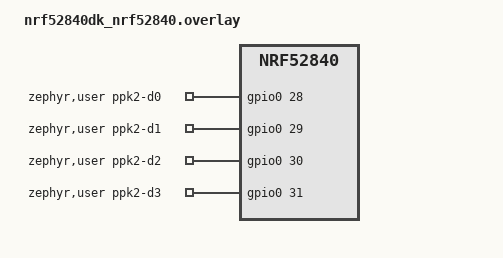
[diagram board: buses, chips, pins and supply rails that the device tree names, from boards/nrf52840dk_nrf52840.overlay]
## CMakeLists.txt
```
cmake_minimum_required(VERSION 3.20.0)
find_package(Zephyr REQUIRED HINTS $ENV{ZEPHYR_BASE})
project(wrap_profiling LANGUAGES C)

target_sources(app PRIVATE src/main.c src/cycle.c src/phases.c src/trace.c)

# The functions to mark: the same list as the PPK2_TRACE_WRAP lines of
# src/trace.c.
ppk2_trace_wrap(run_cycle wakeup measure transmit)
```

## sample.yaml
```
sample:
  name: PPK2 wrap profiling
  description: The profiling cycle, marked at link time without touching its source
tests:
  sample.ppk2.wrap_profiling:
    platform_allow:
      - nrf52840dk/nrf52840
      - nrf54lm20dk/nrf54lm20b/cpuapp
    tags: ppk2 power
    build_only: true
```

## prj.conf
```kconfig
# Quiet config: nothing but the workload shapes the current trace.
CONFIG_GPIO=y
CONFIG_PPK2_TRACE=y

CONFIG_LOG=n
CONFIG_PRINTK=n
CONFIG_BOOT_BANNER=n
CONFIG_CONSOLE=n
CONFIG_SERIAL=n
CONFIG_UART_CONSOLE=n
```

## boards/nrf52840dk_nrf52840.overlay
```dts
/*
 * nRF52840 DK (PCA10056) phase-profiling pins — the adjacent A2..A5 run
 * on the Arduino R3 analog header: cycle D0 = P0.28 (A2), wakeup
 * D1 = P0.29 (A3), measure D2 = P0.30 (A4), transmit D3 = P0.31 (A5).
 * P0.28/P0.29 are bench-proven by ppk2-lib's trace-demo.
 */
/ {
	zephyr,user {
		ppk2-d0-gpios = <&gpio0 28 GPIO_ACTIVE_HIGH>;
		ppk2-d1-gpios = <&gpio0 29 GPIO_ACTIVE_HIGH>;
		ppk2-d2-gpios = <&gpio0 30 GPIO_ACTIVE_HIGH>;
		ppk2-d3-gpios = <&gpio0 31 GPIO_ACTIVE_HIGH>;
	};
};
```

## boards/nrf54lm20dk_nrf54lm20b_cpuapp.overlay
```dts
/* SPDX-License-Identifier: Apache-2.0 OR MIT */
/ {
	zephyr,user {
		ppk2-d0-gpios = <&gpio1 12 GPIO_ACTIVE_HIGH>;
		ppk2-d1-gpios = <&gpio1 13 GPIO_ACTIVE_HIGH>;
		ppk2-d2-gpios = <&gpio1 14 GPIO_ACTIVE_HIGH>;
		ppk2-d3-gpios = <&gpio1 15 GPIO_ACTIVE_HIGH>;
	};
};
```

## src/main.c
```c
/*
 * Wrap-profiling sample: the same cycle as samples/profiling,
 * instrumented without touching the app. cycle.c and phases.c contain
 * no tracing code, and main.c only the boot sync burst — the monitored
 * surface is declared once in
 * trace.c and the linker routes every call through its bracketing
 * wrapper (CMakeLists.txt).
 *
 * boot:         3 quick pulses on D0 (sync burst)
 * cycle (D0):   wakeup (D1) -> measure (D2) -> transmit (D3)
 *               -> 400 ms in-cycle sleep (cycle still high)
 * between:      2 s deep idle, repeat forever
 */
#include <zephyr/kernel.h>

#include <ppk2_trace.h>

#include "app.h"

static void sync_burst(void)
{
	for (int i = 0; i < 3; i++) { /* < 5 ms pulses */
		ppk2_trace_set(0, true);
		k_busy_wait(1000);
		ppk2_trace_set(0, false);
		k_busy_wait(1000);
	}
}

int main(void)
{
	sync_burst();
	k_sleep(K_MSEC(500));

	while (1) {
		run_cycle();
		k_sleep(K_SECONDS(2)); /* deep idle between cycles */
	}
	return 0;
}
```

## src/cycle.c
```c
/* SPDX-License-Identifier: Apache-2.0 OR MIT */
#include <zephyr/kernel.h>

#include "app.h"

void run_cycle(void)
{
	wakeup();
	transmit(measure());
	k_sleep(K_MSEC(400));
}
```

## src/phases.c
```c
/* SPDX-License-Identifier: Apache-2.0 OR MIT */
#include <zephyr/kernel.h>

#include "app.h"

static void busy_ms(int ms)
{
	for (int i = 0; i < ms; i++) {
		k_busy_wait(1000);
	}
}

void wakeup(void)
{
	busy_ms(20);
}

int measure(void)
{
	busy_ms(120);
	/* The CPU sleeps here, as it would while a sensor converts. */
	k_sleep(K_MSEC(30));
	busy_ms(50);
	return 42;
}

int transmit(int reading)
{
	busy_ms(200);
	return reading + 1;
}
```

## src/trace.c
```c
/*
 * SPDX-License-Identifier: Apache-2.0 OR MIT
 *
 * Everything this application marks, in one file. No other file knows
 * about the markers. CMakeLists.txt lists the same functions.
 */
#include <ppk2_trace.h>

PPK2_TRACE_WRAP_VOID(0, run_cycle, (void), ());
PPK2_TRACE_WRAP_VOID(1, wakeup, (void), ());
PPK2_TRACE_WRAP(2, int, measure, (void), ());
PPK2_TRACE_WRAP(3, int, transmit, (int reading), (reading));
```
